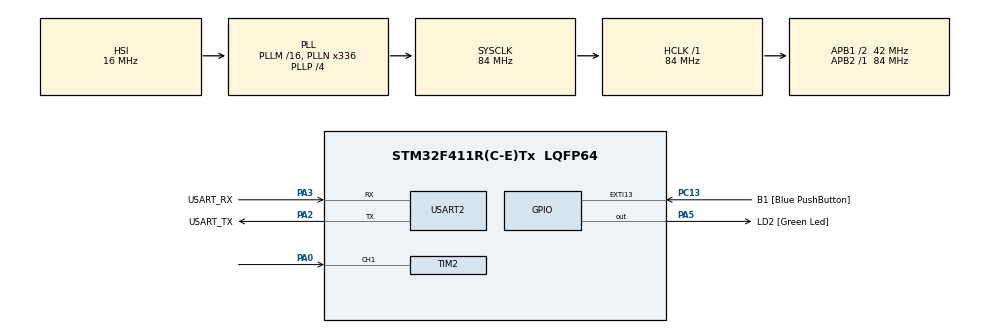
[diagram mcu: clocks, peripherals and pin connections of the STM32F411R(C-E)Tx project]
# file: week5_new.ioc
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Dma.Request0=TIM2_CH1
Dma.TIM2_CH1.0.Direction=DMA_PERIPH_TO_MEMORY
Dma.TIM2_CH1.0.FIFOMode=DMA_FIFOMODE_DISABLE
Dma.TIM2_CH1.0.Instance=DMA1_Stream5
Dma.TIM2_CH1.0.MemDataAlignment=DMA_MDATAALIGN_WORD
Dma.TIM2_CH1.0.MemInc=DMA_MINC_ENABLE
Dma.TIM2_CH1.0.Mode=DMA_CIRCULAR
Dma.TIM2_CH1.0.PeriphDataAlignment=DMA_PDATAALIGN_WORD
Dma.TIM2_CH1.0.PeriphInc=DMA_PINC_DISABLE
Dma.TIM2_CH1.0.Priority=DMA_PRIORITY_LOW
Mcu.Family=STM32F4
Mcu.Name=STM32F411R(C-E)Tx
Mcu.Package=LQFP64
NVIC.DMA1_Stream5_IRQn=true\:0\:0\:false\:false\:true\:false\:true
NVIC.PriorityGroup=NVIC_PRIORITYGROUP_0
NVIC.TIM2_IRQn=true\:0\:0\:false\:false\:true\:true\:true
NVIC.TIM5_IRQn=true\:0\:0\:false\:false\:true\:true\:true
PA0-WKUP.Signal=S_TIM2_CH1_ETR
PA13.GPIO_Label=TMS
PA13.Mode=Serial_Wire
PA13.Signal=SYS_JTMS-SWDIO
PA14.GPIO_Label=TCK
PA14.Mode=Serial_Wire
PA14.Signal=SYS_JTCK-SWCLK
PA2.GPIO_Label=USART_TX
PA2.Mode=Asynchronous
PA2.Signal=USART2_TX
PA3.GPIO_Label=USART_RX
PA3.Mode=Asynchronous
PA3.Signal=USART2_RX
PA5.GPIO_Label=LD2 [Green Led]
PA5.Signal=GPIO_Output
PB3.GPIO_Label=SWO
PB3.Signal=SYS_JTDO-SWO
PC13-ANTI_TAMP.GPIO_Label=B1 [Blue PushButton]
PC13-ANTI_TAMP.GPIO_ModeDefaultEXTI=GPIO_MODE_IT_FALLING
PC13-ANTI_TAMP.Signal=GPXTI13
PC14-OSC32_IN.Mode=LSE-External-Oscillator
PC14-OSC32_IN.Signal=RCC_OSC32_IN
PC15-OSC32_OUT.Mode=LSE-External-Oscillator
PC15-OSC32_OUT.Signal=RCC_OSC32_OUT
PH0\ -\ OSC_IN.Mode=HSE-External-Clock-Source
PH0\ -\ OSC_IN.Signal=RCC_OSC_IN
PH1\ -\ OSC_OUT.Mode=HSE-External-Clock-Source
PH1\ -\ OSC_OUT.Signal=RCC_OSC_OUT
ProjectManager.HeapSize=0x200
ProjectManager.StackSize=0x400
ProjectManager.TargetToolchain=STM32CubeIDE
RCC.48MHZClocksFreq_Value=84000000
RCC.AHBFreq_Value=84000000
RCC.APB1CLKDivider=RCC_HCLK_DIV2
RCC.APB1Freq_Value=42000000
RCC.APB1TimFreq_Value=84000000
RCC.APB2Freq_Value=84000000
RCC.APB2TimFreq_Value=84000000
RCC.CortexFreq_Value=84000000
RCC.FLatency-AdvancedSettings=FLASH_LATENCY_2
RCC.HCLKFreq_Value=84000000
RCC.HSE_VALUE=8000000
RCC.HSI_VALUE=16000000
RCC.PLLN=336
RCC.PLLP=RCC_PLLP_DIV4
RCC.SYSCLKFreq_VALUE=84000000
RCC.SYSCLKSource=RCC_SYSCLKSOURCE_PLLCLK
RCC.VCOOutputFreq_Value=336000000
SH.S_TIM2_CH1_ETR.0=TIM2_CH1,Input_Capture1_from_TI1
TIM2.Channel-Input_Capture1_from_TI1=TIM_CHANNEL_1
TIM2.ICFilter_CH1=2
TIM2.Prescaler=99
TIM5.Prescaler=99
USART2.VirtualMode=VM_ASYNC
VP_TIM2_VS_ClockSourceINT.Mode=Internal
VP_TIM5_VS_ClockSourceINT.Mode=Internal
board=NUCLEO-F411RE

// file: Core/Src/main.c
/* USER CODE BEGIN Header */
/**
  ******************************************************************************
  * @file           : main.c
  * @brief          : Main program body
  ******************************************************************************
  * @attention
  *
  * <h2><center>&copy; Copyright (c) 2021 STMicroelectronics.
  * All rights reserved.</center></h2>
  *
  * This software component is licensed by ST under BSD 3-Clause license,
  * the "License"; You may not use this file except in compliance with the
  * License. You may obtain a copy of the License at:
  *                        opensource.org/licenses/BSD-3-Clause
  *
  ******************************************************************************
  */
/* USER CODE END Header */
#include "main.h"

/* USER CODE BEGIN PD */
#define CAPTURENUM 16
/* USER CODE END PD */

TIM_HandleTypeDef htim2;
TIM_HandleTypeDef htim5;
DMA_HandleTypeDef hdma_tim2_ch1;

UART_HandleTypeDef huart2;

/* USER CODE BEGIN PV */
//DMA Buffer(word)
uint32_t capturedata[CAPTURENUM] = { 0 };//CAPTURE=16

//for microsecond measurement
uint64_t _micros =0;

//diff time of capture data
int64_t DiffTime[CAPTURENUM-1] = { 0 };
//Mean difftime
float MeanTime =0;
float RPM=0;
/* USER CODE END PV */

void SystemClock_Config(void);
static void MX_GPIO_Init(void);
static void MX_DMA_Init(void);
static void MX_USART2_UART_Init(void);
static void MX_TIM2_Init(void);
static void MX_TIM5_Init(void);
/* USER CODE BEGIN PFP */

//Read speed of encoder
void encoderSpeedReaderCycle();

uint64_t micros();
/* USER CODE END PFP */

int main(void)
{

  /* MCU Configuration--------------------------------------------------------*/

  /* Reset of all peripherals, Initializes the Flash interface and the Systick. */
  HAL_Init();

  /* Configure the system clock */
  SystemClock_Config();

  /* Initialize all configured peripherals */
  MX_GPIO_Init();
  MX_DMA_Init();
  MX_USART2_UART_Init();
  MX_TIM2_Init();
  MX_TIM5_Init();
  /* USER CODE BEGIN 2 */

  //start Microsec timer5
  	HAL_TIM_Base_Start_IT(&htim5);

  	//start Input capture in DMA
  	HAL_TIM_Base_Start(&htim2);
  	HAL_TIM_IC_Start_DMA(&htim2, TIM_CHANNEL_1, (uint32_t*) capturedata,
  			CAPTURENUM);

  	uint64_t timestamp =0;

  /* USER CODE END 2 */

  /* Infinite loop */
  while (1)
  {

    /* USER CODE BEGIN 3 */

	  //read Time of encoder
		  		encoderSpeedReaderCycle();

		  if(micros()-timestamp > 100000)//LED toggle 5 Hz
		  		{
		  			timestamp = micros();
		  			HAL_GPIO_TogglePin(LD2_GPIO_Port,LD2_Pin);
		  		}
  }
  /* USER CODE END 3 */
}

void SystemClock_Config(void)
{
  RCC_OscInitTypeDef RCC_OscInitStruct = {0};
  RCC_ClkInitTypeDef RCC_ClkInitStruct = {0};

  /** Configure the main internal regulator output voltage
  */
  __HAL_RCC_PWR_CLK_ENABLE();
  __HAL_PWR_VOLTAGESCALING_CONFIG(PWR_REGULATOR_VOLTAGE_SCALE1);
  /** Initializes the RCC Oscillators according to the specified parameters
  * in the RCC_OscInitTypeDef structure.
  */
  RCC_OscInitStruct.OscillatorType = RCC_OSCILLATORTYPE_HSI;
  RCC_OscInitStruct.HSIState = RCC_HSI_ON;
  RCC_OscInitStruct.HSICalibrationValue = RCC_HSICALIBRATION_DEFAULT;
  RCC_OscInitStruct.PLL.PLLState = RCC_PLL_ON;
  RCC_OscInitStruct.PLL.PLLSource = RCC_PLLSOURCE_HSI;
  RCC_OscInitStruct.PLL.PLLM = 16;
  RCC_OscInitStruct.PLL.PLLN = 336;
  RCC_OscInitStruct.PLL.PLLP = RCC_PLLP_DIV4;
  RCC_OscInitStruct.PLL.PLLQ = 4;
  if (HAL_RCC_OscConfig(&RCC_OscInitStruct) != HAL_OK)
  {
    Error_Handler();
  }
  /** Initializes the CPU, AHB and APB buses clocks
  */
  RCC_ClkInitStruct.ClockType = RCC_CLOCKTYPE_HCLK|RCC_CLOCKTYPE_SYSCLK
                              |RCC_CLOCKTYPE_PCLK1|RCC_CLOCKTYPE_PCLK2;
  RCC_ClkInitStruct.SYSCLKSource = RCC_SYSCLKSOURCE_PLLCLK;
  RCC_ClkInitStruct.AHBCLKDivider = RCC_SYSCLK_DIV1;
  RCC_ClkInitStruct.APB1CLKDivider = RCC_HCLK_DIV2;
  RCC_ClkInitStruct.APB2CLKDivider = RCC_HCLK_DIV1;

  if (HAL_RCC_ClockConfig(&RCC_ClkInitStruct, FLASH_LATENCY_2) != HAL_OK)
  {
    Error_Handler();
  }
}

static void MX_TIM2_Init(void)
{

  TIM_ClockConfigTypeDef sClockSourceConfig = {0};
  TIM_MasterConfigTypeDef sMasterConfig = {0};
  TIM_IC_InitTypeDef sConfigIC = {0};

  htim2.Instance = TIM2;
  htim2.Init.Prescaler = 99;
  htim2.Init.CounterMode = TIM_COUNTERMODE_UP;
  htim2.Init.Period = 4294967295;
  htim2.Init.ClockDivision = TIM_CLOCKDIVISION_DIV1;
  htim2.Init.AutoReloadPreload = TIM_AUTORELOAD_PRELOAD_DISABLE;
  if (HAL_TIM_Base_Init(&htim2) != HAL_OK)
  {
    Error_Handler();
  }
  sClockSourceConfig.ClockSource = TIM_CLOCKSOURCE_INTERNAL;
  if (HAL_TIM_ConfigClockSource(&htim2, &sClockSourceConfig) != HAL_OK)
  {
    Error_Handler();
  }
  if (HAL_TIM_IC_Init(&htim2) != HAL_OK)
  {
    Error_Handler();
  }
  sMasterConfig.MasterOutputTrigger = TIM_TRGO_RESET;
  sMasterConfig.MasterSlaveMode = TIM_MASTERSLAVEMODE_DISABLE;
  if (HAL_TIMEx_MasterConfigSynchronization(&htim2, &sMasterConfig) != HAL_OK)
  {
    Error_Handler();
  }
  sConfigIC.ICPolarity = TIM_INPUTCHANNELPOLARITY_RISING;
  sConfigIC.ICSelection = TIM_ICSELECTION_DIRECTTI;
  sConfigIC.ICPrescaler = TIM_ICPSC_DIV1;
  sConfigIC.ICFilter = 2;
  if (HAL_TIM_IC_ConfigChannel(&htim2, &sConfigIC, TIM_CHANNEL_1) != HAL_OK)
  {
    Error_Handler();
  }

}

static void MX_TIM5_Init(void)
{

  TIM_ClockConfigTypeDef sClockSourceConfig = {0};
  TIM_MasterConfigTypeDef sMasterConfig = {0};

  htim5.Instance = TIM5;
  htim5.Init.Prescaler = 99;
  htim5.Init.CounterMode = TIM_COUNTERMODE_UP;
  htim5.Init.Period = 4294967295;
  htim5.Init.ClockDivision = TIM_CLOCKDIVISION_DIV1;
  htim5.Init.AutoReloadPreload = TIM_AUTORELOAD_PRELOAD_DISABLE;
  if (HAL_TIM_Base_Init(&htim5) != HAL_OK)
  {
    Error_Handler();
  }
  sClockSourceConfig.ClockSource = TIM_CLOCKSOURCE_INTERNAL;
  if (HAL_TIM_ConfigClockSource(&htim5, &sClockSourceConfig) != HAL_OK)
  {
    Error_Handler();
  }
  sMasterConfig.MasterOutputTrigger = TIM_TRGO_RESET;
  sMasterConfig.MasterSlaveMode = TIM_MASTERSLAVEMODE_DISABLE;
  if (HAL_TIMEx_MasterConfigSynchronization(&htim5, &sMasterConfig) != HAL_OK)
  {
    Error_Handler();
  }

}

static void MX_USART2_UART_Init(void)
{

  huart2.Instance = USART2;
  huart2.Init.BaudRate = 115200;
  huart2.Init.WordLength = UART_WORDLENGTH_8B;
  huart2.Init.StopBits = UART_STOPBITS_1;
  huart2.Init.Parity = UART_PARITY_NONE;
  huart2.Init.Mode = UART_MODE_TX_RX;
  huart2.Init.HwFlowCtl = UART_HWCONTROL_NONE;
  huart2.Init.OverSampling = UART_OVERSAMPLING_16;
  if (HAL_UART_Init(&huart2) != HAL_OK)
  {
    Error_Handler();
  }

}

static void MX_DMA_Init(void)
{

  /* DMA controller clock enable */
  __HAL_RCC_DMA1_CLK_ENABLE();

  /* DMA interrupt init */
  /* DMA1_Stream5_IRQn interrupt configuration */
  HAL_NVIC_SetPriority(DMA1_Stream5_IRQn, 0, 0);
  HAL_NVIC_EnableIRQ(DMA1_Stream5_IRQn);

}

static void MX_GPIO_Init(void)
{
  GPIO_InitTypeDef GPIO_InitStruct = {0};

  /* GPIO Ports Clock Enable */
  __HAL_RCC_GPIOC_CLK_ENABLE();
  __HAL_RCC_GPIOH_CLK_ENABLE();
  __HAL_RCC_GPIOA_CLK_ENABLE();
  __HAL_RCC_GPIOB_CLK_ENABLE();

  /*Configure GPIO pin Output Level */
  HAL_GPIO_WritePin(LD2_GPIO_Port, LD2_Pin, GPIO_PIN_RESET);

  /*Configure GPIO pin : B1_Pin */
  GPIO_InitStruct.Pin = B1_Pin;
  GPIO_InitStruct.Mode = GPIO_MODE_IT_FALLING;
  GPIO_InitStruct.Pull = GPIO_NOPULL;
  HAL_GPIO_Init(B1_GPIO_Port, &GPIO_InitStruct);

  /*Configure GPIO pin : LD2_Pin */
  GPIO_InitStruct.Pin = LD2_Pin;
  GPIO_InitStruct.Mode = GPIO_MODE_OUTPUT_PP;
  GPIO_InitStruct.Pull = GPIO_NOPULL;
  GPIO_InitStruct.Speed = GPIO_SPEED_FREQ_LOW;
  HAL_GPIO_Init(LD2_GPIO_Port, &GPIO_InitStruct);

}

/* USER CODE BEGIN 4 */
uint64_t micros()//function
{
	return _micros + htim5.Instance->CNT;
}
void HAL_TIM_PeriodElapsedCallback(TIM_HandleTypeDef *htim)//call backเมื�?อเ�?ิด�?ารinterrup�?อ�?timer
{
 if(htim == &htim5)
 {
	 _micros += 4294967295;
 }
}

//Motor
void encoderSpeedReaderCycle() {
	//get DMA Position form number of data
	//CapPos =�?�?อ�?ที�?เตรียม�?ะ�?ส�?�?�?อมูลเมื�?อเ�?ิดevent
	uint32_t CapPos = CAPTURENUM -  __HAL_DMA_GET_COUNTER(htim2.hdma[TIM_DMA_ID_CC1]);//�?�?อ�?ที�?เหลือที�?�?ส�?�?�?อมูล�?ด�?�?�?รอ�?�?ั�?�?
	uint32_t sum = 0 ;

	//calculate diff from all buffer
	for(register int i=0 ;i < CAPTURENUM-1;i++)
	{
		DiffTime[i]  = capturedata[(CapPos+1+i)%CAPTURENUM]-capturedata[(CapPos+i)%CAPTURENUM];
		//time never go back, but timer can over flow , conpensate that
		if (DiffTime[i] <0)
		{
			DiffTime[i]+= 4294967295;
		}
		//Sum all 15 Diff
		sum += DiffTime[i];
	}

	//mean all 15 Diff
	MeanTime =sum / (float)(CAPTURENUM-1);
	RPM = 60000000/(12*MeanTime*64);
}
/* USER CODE END 4 */

void Error_Handler(void)
{
  __disable_irq();
  while (1)
  {
  }
}

/************************ (C) COPYRIGHT STMicroelectronics *****END OF FILE****/
